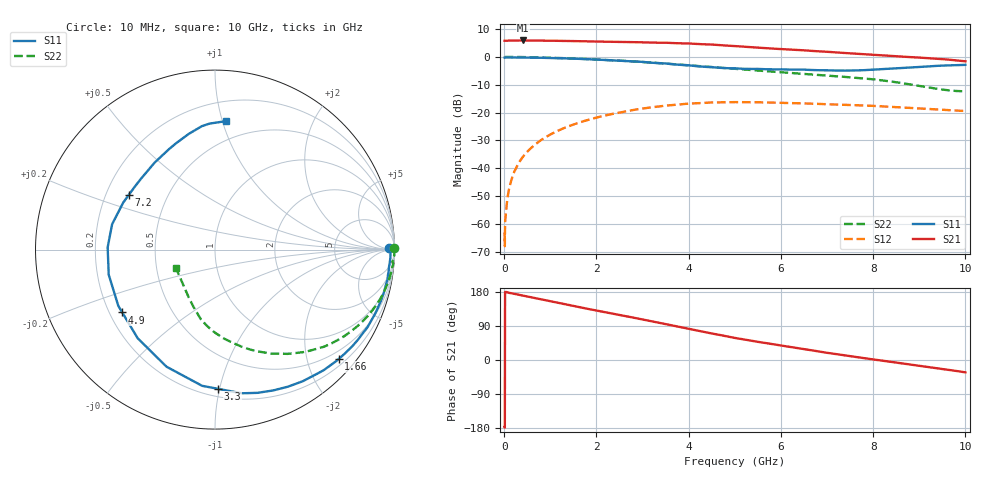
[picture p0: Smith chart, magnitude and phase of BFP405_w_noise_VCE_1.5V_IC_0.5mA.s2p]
! Infineon Technologies  Discrete & RF Semiconductors
! BFP405
! VCE =  1.5 V,  IC =  0.5 mA
! Common Emitter S-Parameters:  Jan 2016
# GHz  S  MA  R  50
!  f  S11  S21  S12  S22
! GHz  MAG  ANG  MAG  ANG  MAG  ANG  MAG  ANG
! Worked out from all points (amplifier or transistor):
!   233 points, 10 MHz to 10 GHz, reference 50 ohm
!   highest |S21| = 5.9 dB at 400 MHz (marker M1)
!   |S21| within 3 dB of that: start of sweep to 5.902 GHz
!   unconditionally stable (mu >= 1): 5.551 GHz to end of sweep
!   at 200 MHz: K = 0.01, MSG = 24.0 dB, |S12| = -42.0 dB
!   at 1.74 GHz: K = 0.18, MSG = 14.3 dB, |S12| = -23.0 dB
!   at 10 GHz: K = 2.43, MAG = 2.3 dB, |S12| = -19.4 dB
!   lowest NFmin = 0.78 dB at 900 MHz
!   S11 on the Smith chart (normalised r, x): 10 MHz: 62, +18; 1.66 GHz: 0.33, -2.60; 3.3 GHz: 0.25, -0.99; 4.9 GHz: 0.25, -0.29; 7.2 GHz: 0.30, +0.27; 10 GHz: 0.35, +1.03
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0.01  0.9709 0.5  1.949 -176.7  0.0007 -34.9  1 0.5
0.015  0.9742 0.1  1.948 -178.6  0.0004 46.1  0.9982 0.4
0.02  0.9776 -0.2  1.95 179.5  0.001 89.8  0.9964 0.2
0.025  0.9777 -0.4  1.949 179.5  0.0012 89.9  0.9969 0.1
0.07  0.9783 -1.9  1.953 178.5  0.0028 89.5  0.9996 -0.9
0.12  0.9779 -2.9  1.963 177.0  0.0048 88.4  0.9991 -1.8
0.22  0.9749 -5.2  1.967 174.6  0.0087 87.2  0.9943 -3.4
0.4  0.9754 -9.7  1.973 170.1  0.0158 85.0  0.9919 -6.0
0.86  0.9619 -21.0  1.958 158.5  0.0346 78.0  0.9745 -12.8
1.66  0.92 -41.5  1.913 138.8  0.0676 64.4  0.9239 -24.2
1.68  0.9189 -42.0  1.912 138.3  0.0684 64.0  0.9224 -24.4
2.42  0.8634 -62.5  1.861 120.7  0.0974 50.8  0.8639 -34.2
3.3  0.7757 -88.8  1.8 99.7  0.1271 34.0  0.7802 -45.7
3.4  0.7677 -92.1  1.797 97.2  0.1303 32.2  0.7702 -47.1
4  0.7061 -112.5  1.742 82.3  0.145 20.6  0.7076 -55.2
4.9  0.6242 -145.9  1.584 60.7  0.1536 4.1  0.6178 -66.8
5.1  0.6161 -153.1  1.546 56.3  0.154 0.8  0.6004 -69.2
6  0.5982 178.8  1.383 38.2  0.1501 -12.0  0.5307 -78.9
6.8  0.5771 158.3  1.261 23.0  0.1433 -20.9  0.4758 -87.7
7.2  0.5687 147.4  1.201 15.5  0.1397 -24.8  0.4493 -92.1
8.4  0.6155 114.6  1.041 -5.1  0.1267 -34.9  0.3602 -107.0
10  0.719 84.9  0.833 -32.6  0.1066 -40.5  0.2406 -154.9
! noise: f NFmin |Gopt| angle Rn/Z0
0.9  0.78  0.8  16  0.85
1.8  1.31  0.68  35  0.8
2.4  1.61  0.59  48  0.67
3  1.86  0.58  63  0.64
4  2.16  0.46  92  0.41
5  2.4  0.46  126  0.24
